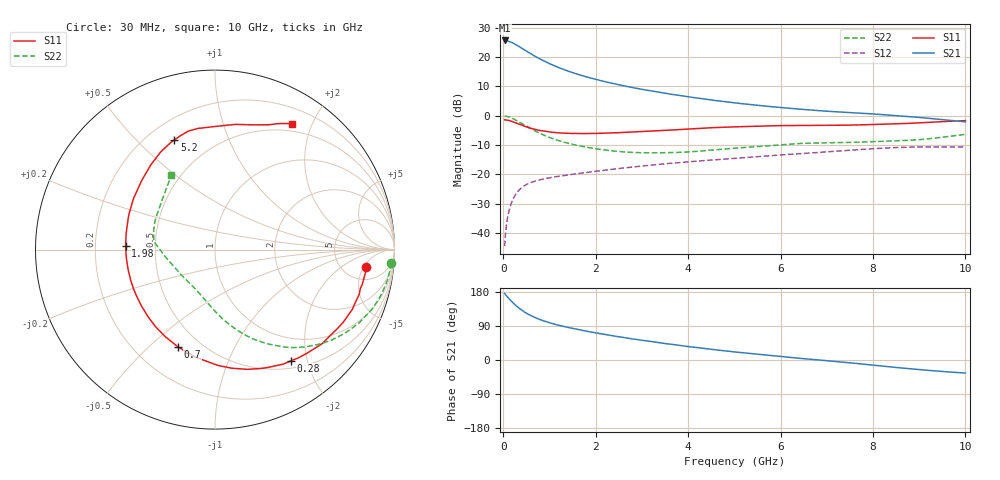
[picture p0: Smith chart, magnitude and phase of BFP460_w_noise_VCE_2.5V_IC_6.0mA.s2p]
! (c) 2016  Infineon Technologies AG, Munich
! Infineon Technologies  Discrete & RF Semiconductors
! BFP460
! VCE =  2.5 V,  IC =  6.0 mA
! Common Emitter S-Parameters:  Jan 2016
# GHz  S  MA  R  50
!  f  S11  S21  S12  S22
! GHz  MAG  ANG  MAG  ANG  MAG  ANG  MAG  ANG
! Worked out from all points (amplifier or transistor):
!   229 points, 30 MHz to 10 GHz, reference 50 ohm
!   highest |S21| = 25.6 dB at 30 MHz (marker M1)
!   |S21| within 3 dB of that: start of sweep to 439.1 MHz
!   unconditionally stable (mu >= 1): 2.91 GHz to 7.908 GHz
!   at 280 MHz: K = 0.18, MSG = 25.3 dB, |S12| = -26.5 dB
!   at 1.78 GHz: K = 0.81, MSG = 16.3 dB, |S12| = -19.4 dB
!   at 10 GHz: K = 0.96, MSG = 4.3 dB, |S12| = -10.7 dB
!   lowest NFmin = 0.83 dB at 450 MHz
!   S11 on the Smith chart (normalised r, x): 30 MHz: 8, -6; 280 MHz: 0.61, -1.73; 700 MHz: 0.38, -0.62; 1.98 GHz: 0.34, +0.02; 5.2 GHz: 0.31, +0.65; 10 GHz: 0.40, +1.72
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0.03  0.8492 -6.5  19.06 175.8  0.006 86.2  0.9846 -4.4
0.05  0.8453 -10.6  18.89 172.1  0.01 85.1  0.9807 -7.1
0.07  0.8384 -15.1  18.94 169.3  0.0138 82.0  0.9753 -10.0
0.15  0.815 -31.7  18.05 158.5  0.0283 73.3  0.9351 -20.9
0.2  0.7939 -41.5  17.4 152.2  0.0364 68.5  0.8999 -27.1
0.28  0.7503 -55.8  16.09 143.1  0.0472 61.8  0.8347 -36.1
0.36  0.7097 -69.0  14.77 135.0  0.056 56.3  0.7685 -43.9
0.48  0.6533 -85.8  12.88 125.0  0.0658 50.0  0.6759 -53.6
0.6  0.6094 -100.4  11.27 116.8  0.073 45.5  0.5972 -61.3
0.7  0.5802 -110.7  10.13 111.2  0.0775 42.7  0.5426 -66.8
0.9  0.5419 -127.9  8.375 102.1  0.0846 39.3  0.4587 -75.3
1.1  0.5175 -141.8  7.092 94.8  0.0902 37.3  0.3992 -82.3
1.36  0.5019 -156.4  5.896 87.1  0.0969 36.0  0.3459 -89.5
1.7  0.4958 -171.8  4.815 78.4  0.1053 35.2  0.3002 -97.8
1.98  0.4978 177.5  4.188 72.1  0.1124 34.8  0.275 -104.1
2.6  0.5183 157.8  3.23 59.4  0.1285 33.5  0.2415 -119.1
3.4  0.5553 138.6  2.48 45.3  0.149 31.1  0.2334 -138.6
5.1  0.6483 111.4  1.619 20.2  0.1898 25.0  0.2829 -173.0
5.2  0.6515 110.3  1.588 19.0  0.1925 24.6  0.2863 -174.1
6.8  0.6814 95.2  1.222 0.4  0.2356 17.0  0.343 171.9
8.4  0.7197 75.1  1.015 -18.5  0.2844 5.5  0.37 154.6
10  0.8229 58.5  0.784 -34.4  0.2931 -6.4  0.48 120.4
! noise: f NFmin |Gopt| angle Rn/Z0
0.45  0.83  0.28  16  0.15
0.9  0.84  0.26  37  0.16
1.9  1.07  0.14  103  0.12
3.5  1.18  0.31  -149  0.11
